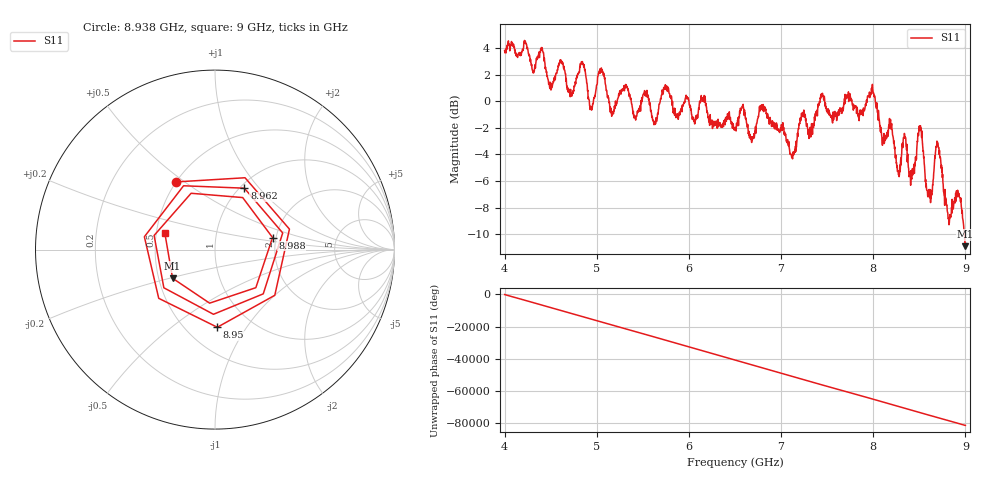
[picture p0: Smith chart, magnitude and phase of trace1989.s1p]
! Created with skrf 1.8.0 (http://scikit-rf.org).
# Hz S RI R 50.0
!freq ReS11 ImS11
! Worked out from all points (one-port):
!   1601 points, 4 GHz to 9 GHz, reference 50 ohm
!   lowest |S11| = -10.9 dB at 8.997 GHz (marker M1), VSWR 1.80, Z = 29.6 - j10.3 ohm
!   |S11| at or under -10 dB: 8.990055 GHz to end of sweep
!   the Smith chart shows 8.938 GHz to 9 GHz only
!   S11 on the Smith chart (normalised r, x): 8.938 GHz: 0.50, +0.47; 8.95 GHz: 0.70, -0.74; 8.962 GHz: 1.05, +0.84; 8.988 GHz: 1.92, +0.29; 9 GHz: 0.56, +0.11
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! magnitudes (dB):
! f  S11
! 4 GHz  3.8
! 4.5 GHz  1.2
! 4.625 GHz  2.8
! 4.725 GHz  0.6
! 4.847 GHz  2.8
! 4.938 GHz  -0.5
! 5.041 GHz  2.5
! 5.162 GHz  -1.1
! 5.25 GHz  0.8
! 5.875 GHz  -1.0
! 6.5 GHz  -2.0
! 6.806 GHz  -0.2
! 7.125 GHz  -4.3
! 7.231 GHz  -1.0
! 7.75 GHz  0.3
! 7.994 GHz  0.9
! 8.269 GHz  -5.3
! 8.375 GHz  -4.0
! 8.509 GHz  -2.1
! 8.603 GHz  -6.9
! 8.7 GHz  -3.1
! 8.819 GHz  -8.8
! 8.938 GHz  -7.2
! 8.95 GHz  -7.3
! 8.962 GHz  -8.4
! 8.988 GHz  -9.7
! 8.997 GHz  -10.9
! 9 GHz  -10.6
